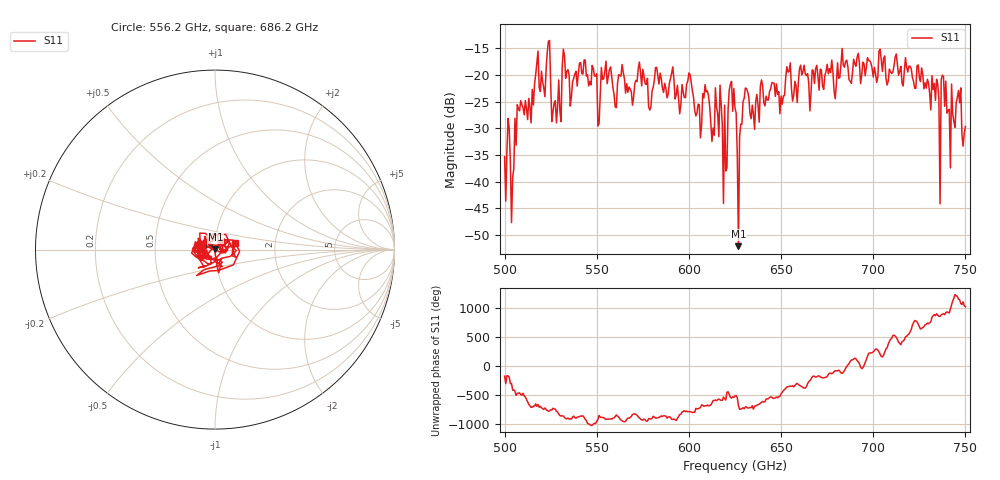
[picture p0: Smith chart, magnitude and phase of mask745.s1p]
!Created with skrf (http://scikit-rf.org).
# GHz S MA R 50.0
!freq magS11 angS11
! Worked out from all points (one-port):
!   401 points, 500 GHz to 750 GHz, reference 50 ohm
!   lowest |S11| = -52.1 dB at 626.9 GHz (marker M1), VSWR 1.00, Z = 50.2 + j0.143 ohm
!   |S11| at or under -10 dB: start of sweep to end of sweep
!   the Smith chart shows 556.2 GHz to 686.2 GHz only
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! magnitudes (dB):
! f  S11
! 500 GHz  -35.3
! 504.4 GHz  -39.1
! 508.1 GHz  -26.7
! 513.1 GHz  -24.4
! 517.5 GHz  -17.7
! 523.8 GHz  -13.7
! 526.9 GHz  -25.3
! 531.2 GHz  -18.4
! 562.5 GHz  -20.1
! 593.8 GHz  -22.0
! 605.6 GHz  -25.6
! 609.4 GHz  -23.2
! 612.5 GHz  -32.5
! 616.9 GHz  -21.9
! 619.4 GHz  -25.7
! 622.5 GHz  -21.8
! 625 GHz  -26.2
! 626.9 GHz  -52.1
! 630.6 GHz  -22.5
! 634.4 GHz  -25.7
! 656.2 GHz  -24.9
! 687.5 GHz  -21.2
! 718.8 GHz  -19.5
! 735 GHz  -21.7
! 738.1 GHz  -20.3
! 743.1 GHz  -27.4
! 746.2 GHz  -22.9
! 750 GHz  -29.7
